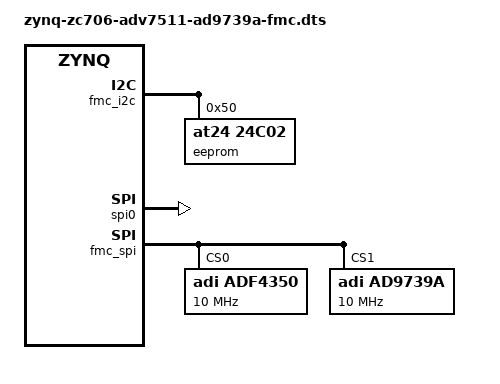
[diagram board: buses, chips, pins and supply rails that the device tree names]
// SPDX-License-Identifier: GPL-2.0
/*
 * Analog Devices AD9739A
 * https://wiki.analog.com/resources/tools-software/linux-drivers/iio-dds/axi-dac-dds-hdl
 * https://wiki.analog.com/resources/fpga/xilinx/fmc/ad9739a
 *
 * hdl_project: <ad9739a_fmc/zc706>
 * board_revision: <>
 *
 * Copyright (C) 2016-2019 Analog Devices Inc.
 */
/dts-v1/;

#include "zynq-zc706.dtsi"
#include "zynq-zc706-adv7511.dtsi"

&i2c_mux {
	fmc_i2c: i2c@6 {
		#size-cells = <0>;
		#address-cells = <1>;
		reg = <6>;

		eeprom@50 {
			compatible = "at24,24c02";
			reg = <0x50>;
		};
	};
};

&spi0 {
	status = "okay";
};

#define fmc_spi spi0

/{
	adf4350_clkin: adf4350_clkin {
		compatible = "fixed-clock";
		#clock-cells = <0>;
		clock-frequency = <25000000>;
	};

	adf4350_clkout: adf4350_clkout {
		compatible = "fixed-clock";
		#clock-cells = <0>;
		clock-frequency = <2500000000>;
	};
};

&fpga_axi {
	tx_dma: tx-dmac@7c420000 {
		compatible = "adi,axi-dmac-1.00.a";
		reg = <0x7c420000 0x10000>;
		#dma-cells = <1>;
		interrupts = <0 56 IRQ_TYPE_LEVEL_HIGH>;
		clocks = <&clkc 16>;

		adi,channels {
			#size-cells = <0>;
			#address-cells = <1>;

			dma-channel@0 {
				reg = <0>;
				adi,source-bus-width = <256>;
				adi,source-bus-type = <0>;
				adi,destination-bus-width = <256>;
				adi,destination-bus-type = <2>;
			};
		};
	};

	axi_ad9739a_core: axi-ad9739a-hpc@74204000 {
		compatible = "adi,axi-ad9739a-8.00.b";
		reg = < 0x74204000 0x4000 >;
		dmas = <&tx_dma 0>;
		dma-names = "tx";
		spibus-connected = <&ad9739a>;
	};
};

&fmc_spi {
	adf4350: adf4350@0 {
		#address-cells = <1>;
		#size-cells = <0>;
		compatible = "adi,adf4350";
		reg = <0>;
		spi-max-frequency = <10000000>;
		clocks = <&adf4350_clkin>;
		clock-names = "clkin";
		adi,channel-spacing = <100000>;
		adi,power-up-frequency = <2500000000>;
		adi,phase-detector-polarity-positive-enable;
		adi,charge-pump-current = <2500>;
		adi,output-power = <3>;
		adi,aux-output-fundamental-enable;
	};

	ad9739a: ad9739a@1 {
		#address-cells = <1>;
		#size-cells = <0>;
		compatible = "adi,ad9739a";
		reg = <1>;
		spi-max-frequency = <10000000>;
		clocks = <&adf4350_clkout>;
		clock-names = "dac_clk";
		//adi,mix-mode-enable;
		//adi,full-scale-current-ua = <25000>;
	};
};

